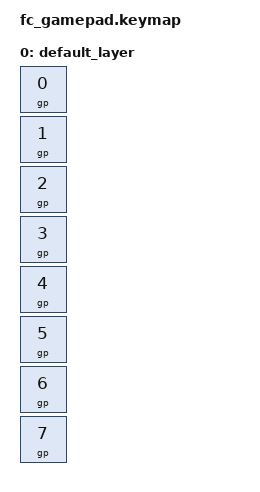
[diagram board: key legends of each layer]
#include <dt-bindings/zmk/hid_usage.h>
#include <dt-bindings/zmk/keys.h>
#include <dt-bindings/zmk/gamepad.h>

/ {
    keymap {
        compatible = "zmk,keymap";
    default_layer {
        bindings = <
            &gp 0
            &gp 1
            &gp 2
            &gp 3
            &gp 4
            &gp 5
            &gp 6
            &gp 7
        >;
    };
    };
};
